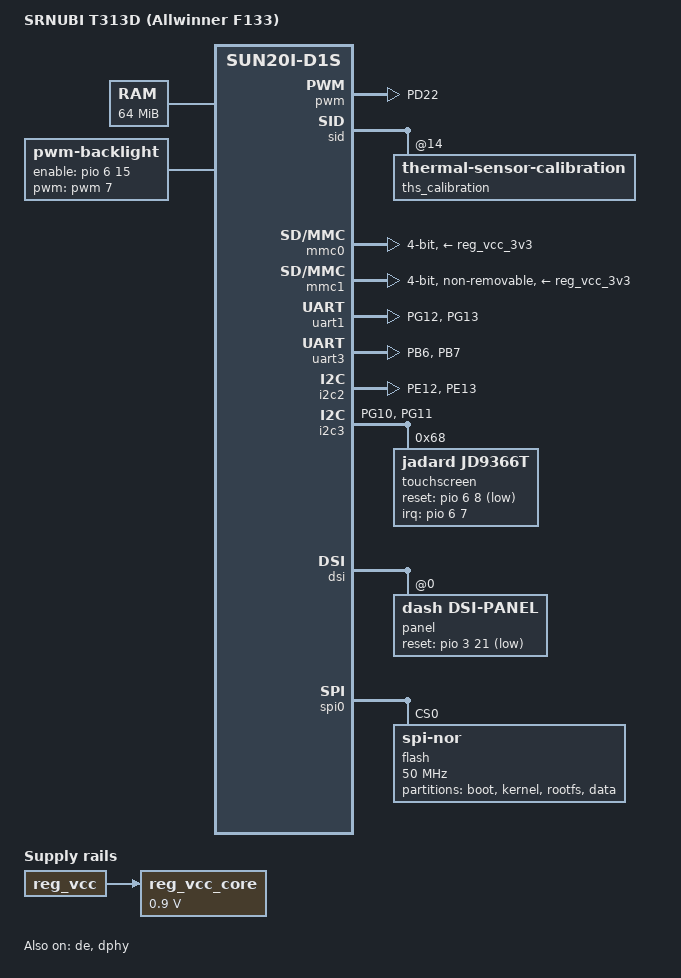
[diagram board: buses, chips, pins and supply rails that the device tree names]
// SPDX-License-Identifier: (GPL-2.0+ or MIT)
// SRNUBI T313D 11.26" car screen: Allwinner F133 (D1s), 64 MiB DDR2, SD card, AIC8800D Wi-Fi on SDIO,
// the screen's MCU on UART1 (it holds the power; see U-Boot's f133_mcu_hold and /etc/init.d/S03mcu).

#include <dt-bindings/gpio/gpio.h>
#include <dt-bindings/interrupt-controller/irq.h>
#include <dt-bindings/pwm/pwm.h>
#include <dt-bindings/power/allwinner,sun20i-d1-ppu.h>
#include <dt-bindings/thermal/thermal.h>

/dts-v1/;

#include "allwinner/sun20i-d1s.dtsi"
#include "allwinner/sun20i-common-regulators.dtsi"

/ {
	model = "SRNUBI T313D (Allwinner F133)";
	compatible = "srnubi,t313d", "allwinner,sun20i-d1s";

	aliases {
		mmc0 = &mmc0;
		mmc1 = &mmc1;
		serial1 = &uart1;
		serial3 = &uart3;
		i2c2 = &i2c2;	/* /dev/i2c-2: the stock firmware's /dev/twi2 */
		i2c3 = &i2c3;	/* /dev/i2c-3: the touch */
	};

	chosen {
		stdout-path = "serial3:115200n8";
	};

	/*
	 * The in-package 64 MiB. U-Boot on RISC-V adds no memory node at booti (it copies only OpenSBI's reserved
	 * regions), and without one the kernel had no memory: "INITRD ... is not a memory region", then a panic.
	 */
	memory@40000000 {
		device_type = "memory";
		reg = <0x40000000 0x4000000>;
	};

	reserved-memory {
		#address-cells = <1>;
		#size-cells = <1>;
		ranges;
		/* Empty: U-Boot adds OpenSBI's own regions here. The bring-up's two were given back to Linux (2.5 MiB of the
		 * 64; a projection's video decoder died for want of memory): ramoops@43800000 (0x80000: the kernel log across a reset,
		 * which U-Boot copied to the card as ramoops.bin) and logs@43a00000 (0x200000, no-map: U-Boot proper's log at
		 * 0x43a00000, OpenSBI's at 0x43b00000, for the SPL to save after a reset). Both were read only from the card;
		 * the screen runs from the NOR. The early boot may still write its logs there: Linux has not started yet, and
		 * the command line names no SBI console (console=tty0, no earlycon), so OpenSBI prints nothing once Linux
		 * runs. Put them back to debug a reset loop with a card. */
	};

	reg_vcc_core: vcc-core {
		compatible = "regulator-fixed";
		regulator-name = "vcc-core";
		regulator-min-microvolt = <900000>;
		regulator-max-microvolt = <900000>;
		vin-supply = <&reg_vcc>;
	};

	/* stock: lcd_bl_en PG15, PWM7 on PD22 at 50 kHz, active low (lcd_pwm_pol 1); as on the T113 Dash */
	backlight: backlight {
		compatible = "pwm-backlight";
		pwms = <&pwm 7 20000 PWM_POLARITY_INVERTED>;
		enable-gpios = <&pio 6 15 GPIO_ACTIVE_HIGH>;
		/* 0..2000: every step of the PWM's 50 kHz period (2000 of its 100 MHz clock), a twentieth of a percent of
		 * duty each: the dash's lowest level is one of them, far below one percent (a night's dark cabin) */
		brightness-levels = <0 2000>;
		num-interpolated-steps = <2000>;
		/* off until the initramfs has the boot picture on the screen and lights it (init/init.c): the first light
		 * shows the picture, not an empty panel. Hence no backlight link from the panel either: the DSI coming up
		 * would light it. */
		default-brightness-level = <0>;
	};

	soc {
		/* D1/T113 PWM (8 channels); the 6.6 dtsi has no node yet (patches/linux/0003, as on the T113 Dash) */
		pwm: pwm@2000c00 {
			compatible = "allwinner,sun20i-d1-pwm";
			reg = <0x02000c00 0x400>;
			clocks = <&ccu CLK_BUS_PWM>, <&dcxo>, <&ccu CLK_APB0>;
			clock-names = "bus", "hosc", "apb";
			resets = <&ccu RST_BUS_PWM>;
			pinctrl-0 = <&pwm7_pd22_pin>;
			pinctrl-names = "default";
			#pwm-cells = <3>;
			allwinner,npwms = <8>;
		};

		/* the video engine: cedrus, Android Auto's H.264 (as the Dash R4; the 6.6 dtsi has none). PLIC 82 =
		 * SOC_PERIPHERAL_IRQ(66), the T113's SPI 66; no SRAM to claim (patches/linux/0005); the VE power domain
		 * needs SUN20I_PPU; buffers from CMA (no IOMMU driver for the D1 in 6.6) */
		ve: video-codec@1c0e000 {
			compatible = "allwinner,sun20i-d1-video-engine";
			reg = <0x01c0e000 0x2000>;
			interrupts = <SOC_PERIPHERAL_IRQ(66) IRQ_TYPE_LEVEL_HIGH>;
			clocks = <&ccu CLK_BUS_VE>, <&ccu CLK_VE>, <&ccu CLK_MBUS_VE>;
			clock-names = "ahb", "mod", "ram";
			resets = <&ccu RST_BUS_VE>;
			power-domains = <&ppu PD_VE>;
		};
	};
};

&cpu0 {
	cpu-supply = <&reg_vcc_core>;
};

/*
 * Heat: the SoC's temperature sensor (the D1's THS: the driver's entry is patches/linux/0009, its node and thermal
 * zone as upstream has them since 6.8), calibrated from the efuse. At 85 C the CPU is held at 408 MHz (its other
 * operating point: cpufreq stays at 1008 MHz otherwise); at 110 C the system shuts down (forced after 10 s) and halts,
 * the backlight off: nothing here can cut the power, and the MCU, no longer held, cycles it; a start still that hot
 * shuts down again.
 */
&sid {
	ths_calibration: thermal-sensor-calibration@14 {
		reg = <0x14 0x4>;
	};
};

/ {
	soc {
		ths: thermal-sensor@2009400 {
			compatible = "allwinner,sun20i-d1-ths";
			reg = <0x2009400 0x400>;
			interrupts = <SOC_PERIPHERAL_IRQ(58) IRQ_TYPE_LEVEL_HIGH>;
			clocks = <&ccu CLK_BUS_THS>;
			clock-names = "bus";
			resets = <&ccu RST_BUS_THS>;
			nvmem-cells = <&ths_calibration>;
			nvmem-cell-names = "calibration";
			#thermal-sensor-cells = <0>;
		};
	};

	thermal-zones {
		cpu-thermal {
			/* looked at too, not left to the sensor's interrupt alone */
			polling-delay = <5000>;
			polling-delay-passive = <1000>;
			thermal-sensors = <&ths>;

			cooling-maps {
				map0 {
					trip = <&cpu_target>;
					cooling-device = <&cpu0 THERMAL_NO_LIMIT THERMAL_NO_LIMIT>;
				};
			};

			trips {
				cpu_target: cpu-target {
					temperature = <85000>;
					hysteresis = <2000>;
					type = "passive";
				};

				cpu-crit {
					temperature = <110000>;
					hysteresis = <0>;
					type = "critical";
				};
			};
		};
	};
};

&dcxo {
	clock-frequency = <24000000>;
};

/* the SD card */
&mmc0 {
	bus-width = <4>;
	broken-cd;
	disable-wp;
	vmmc-supply = <&reg_vcc_3v3>;
	vqmmc-supply = <&reg_vcc_3v3>;
	pinctrl-0 = <&mmc0_pins>;
	pinctrl-names = "default";
	status = "okay";
};

/* the AIC8800D Wi-Fi */
&mmc1 {
	bus-width = <4>;
	non-removable;
	keep-power-in-suspend;
	vmmc-supply = <&reg_vcc_3v3>;
	vqmmc-supply = <&reg_vcc_3v3>;
	pinctrl-0 = <&mmc1_pins>;
	pinctrl-names = "default";
	status = "okay";
};

&pio {
	uart1_pg12_pins: uart1-pg12-pins {
		pins = "PG12", "PG13";
		function = "uart1";
	};

	/* RX pulled up: it is not wired out and must not float (noise is console input) */
	uart3_pb6_pins: uart3-pb6-pins {
		pins = "PB6", "PB7";
		function = "uart3";
		bias-pull-up;
	};

	/* stock [twi2]: PE12 SCL, PE13 SDA, function 2 */
	i2c2_pe12_pins: i2c2-pe12-pins {
		pins = "PE12", "PE13";
		function = "i2c2";
	};

	i2c3_pg10_pins: i2c3-pg10-pins {
		pins = "PG10", "PG11";
		function = "i2c3";
	};

	/* PD22: the panel's brightness input, active low (floating or low = lit). Never a gpio-hog (on the T113 Dash
	 * that broke the pinctrl probe) */
	pwm7_pd22_pin: pwm7-pd22-pin {
		pins = "PD22";
		function = "pwm7";
	};
};

/* the screen's MCU */
&uart1 {
	pinctrl-0 = <&uart1_pg12_pins>;
	pinctrl-names = "default";
	status = "okay";
};

/* the debug UART (stock sys_config: uart_debug_tx = PB06), not wired out */
&uart3 {
	pinctrl-0 = <&uart3_pb6_pins>;
	pinctrl-names = "default";
	status = "okay";
};

/* TWI2 (the stock firmware's /dev/twi2): the audio codec and the board's other I2C devices, enabled so userspace
 * can reach them */
&i2c2 {
	pinctrl-names = "default";
	pinctrl-0 = <&i2c2_pe12_pins>;
	status = "okay";
};

/* the touch, the panel controller's own (stock ctp_lcd_integrated): a Jadard JD9366T (IC id 0x9032), I2C3 on
 * PG10/PG11 at 0x68 (it answers at 0x5a too), interrupt PG7 level low, its reset PG8 (stock ctp_wakeup) */
&i2c3 {
	pinctrl-names = "default";
	pinctrl-0 = <&i2c3_pg10_pins>;
	status = "okay";

	touchscreen@68 {
		compatible = "jadard,jd9366t";
		reg = <0x68>;
		interrupt-parent = <&pio>;
		interrupts = <6 7 IRQ_TYPE_LEVEL_LOW>;
		reset-gpios = <&pio 6 8 GPIO_ACTIVE_LOW>;
	};
};

/* The display: DE2 mixer -> TCON LCD -> MIPI-DSI, 4 lanes on PD0-PD9, as the stock [lcd0] (lcd_if 4) */
&de {
	status = "okay";
};

&dphy {
	status = "okay";
};

&dsi {
	pinctrl-names = "default";
	pinctrl-0 = <&dsi_4lane_pins>;
	status = "okay";

	panel@0 {
		compatible = "dash,dsi-panel";
		reg = <0>;
		reset-gpios = <&pio 3 21 GPIO_ACTIVE_LOW>;	/* stock lcd_reset PD21 */
		/* 11.26" at 720x1920: about 100 x 268 mm in portrait (6.6's of_get_drm_panel_display_mode needs both) */
		width-mm = <100>;
		height-mm = <268>;

		/* the stock [mipi_reg] list (sys_config.fex), as <len cmd args...>; 11/29 are sent by the driver */
		dash,init = [
			02 30 01
			05 78 49 61 02 00
			02 30 02
			02 31 22
			02 32 08
			02 33 31
			02 3d 3c
			02 3e 67
			02 3f 60
			02 42 83
			02 43 f0
			02 44 21
			02 49 a1
			02 40 38
			0d 41 00 00 08 08 00 00 08 08 00 00 08 08
			0c 5a 23 23 23 23 23 22 23 18 00 21 20
			0c 5b 08 0a 0c 0e 04 23 23 23 23 23 23
			0c 5c 23 23 23 23 23 22 23 19 01 21 20
			0c 5d 09 0b 0d 0f 05 23 23 23 23 23 23
			0c 5e 23 23 23 23 23 23 22 05 01 21 20
			0c 5f 0f 0d 0b 09 19 23 23 23 23 23 23
			0c 60 23 23 23 23 23 23 22 04 00 21 20
			0c 61 0e 0c 0a 08 18 23 23 23 23 23 23
			02 68 80
			03 4e aa aa
			03 50 aa aa
			04 64 ff ff 7f
			04 65 ff ff 7f
			04 6f 00 04 00
			04 70 00 04 00
			04 71 ff ff 3f
			04 72 ff ff 3f
			02 30 07
			02 31 c0
			02 30 08
			02 33 05
			02 40 50
			02 41 80
			02 42 1a
			02 47 0a
			02 48 0c
			02 50 14
			02 5a d0
			02 5b 80
			02 5c 72
			02 62 04
			02 65 5f
			02 5e 00
			02 73 01
			02 30 0a
			02 33 30
			02 3f 53
			02 40 15
			02 47 20
			02 48 80
			02 49 03
			02 30 0b
			03 33 00 40
			03 3c 00 57
			02 43 a1
			02 44 21
			06 3e 00 04 0c 12 18
			0f 3f 27 41 4a 53 53 73 7d 86 99 98 9e a6 b8 b6
			0a 40 5e 5f 69 65 00 04 0c 12 18
			0f 41 27 41 4b 52 53 73 7d 86 99 98 9e a6 b8 b6
			05 42 5e 5f 69 65
			02 45 4e
			02 46 4a
			02 48 2e
			02 49 27
			02 4a 2b
			02 30 0c
			02 32 62
			02 62 40
			02 71 47
			02 30 0d
			02 4c 74
			02 30 08
			02 52 c3
			02 54 20
			02 30 00
			02 35 00
		];

		/*
		 * stock [lcd0]: 720x1920, dclk 101 MHz, ht 796 hbp 28 hspw 8, vt 2168 vbp 20 vspw 8 (Allwinner's
		 * back porch counts the sync): 58.5 Hz
		 */
		panel-timing {
			clock-frequency = <101000000>;
			hactive = <720>;
			hfront-porch = <48>;
			hsync-len = <8>;
			hback-porch = <20>;
			vactive = <1920>;
			vfront-porch = <228>;
			vsync-len = <8>;
			vback-porch = <12>;
		};
	};
};

/*
 * The SPI NOR: 16 MiB XMC XM25QH128C (JEDEC 20 40 18, spi-nor-generic from its SFDP) on SPI0, PC2..PC5, at 24 MHz (the
 * clock the stock backup was read at). The screen runs from it without a card: U-Boot's SPL and
 * U-Boot, a kernel FIT, the root squashfs, and /data. CONFIG_MTD_PARTITIONED_MASTER also gives the whole chip as mtd0
 * (backup reads, a restore, U-Boot's writes: its own partition is read only). nor.sh writes them from a card boot.
 * Sized for the first images (U-Boot 0.81 MiB, the kernel FIT 3.9, the root 9.92 in xz): the boundaries are
 * only here, U-Boot's norkernel (0x100000) and nor.sh (/proc/mtd).
 */
&spi0 {
	pinctrl-names = "default";
	pinctrl-0 = <&spi0_pins>;
	status = "okay";

	flash@0 {
		compatible = "jedec,spi-nor";
		reg = <0>;
		/*
		 * 50 MHz: the whole chip read the same as at 24 MHz at 40, 50, 60 and 75 MHz (FAST_READ, four passes
		 * each); 50 keeps a margin for the car's temperatures. 64 KiB reads 2.3 -> 5.7 MB/s.
		 */
		spi-max-frequency = <50000000>;
		/* read on both data lines (the chip's dual output read, no pins more than the four): 5.5 -> 10 MiB/s, the
		 * three partitions read the same as on one line */
		spi-rx-bus-width = <2>;

		partitions {
			compatible = "fixed-partitions";
			#address-cells = <1>;
			#size-cells = <1>;

			/* the eGON SPL the BROM loads, then U-Boot's FIT (OpenSBI, U-Boot proper) */
			partition@0 {
				label = "boot";
				reg = <0x000000 0x100000>;
				read-only;
			};

			/* a FIT: the LZMA kernel and this device tree, sha256 each (bootm checks them) */
			partition@100000 {
				label = "kernel";
				reg = <0x100000 0x440000>;
			};

			/* squashfs (xz, 128 KiB blocks): the root, root=mtd:rootfs */
			partition@540000 {
				label = "rootfs";
				reg = <0x540000 0xa40000>;
			};

			/* JFFS2: /data (settings, Wi-Fi, SSH keys, the AA certificate, Bluetooth bonds); logs stay in RAM */
			partition@f80000 {
				label = "data";
				reg = <0xf80000 0x080000>;
			};
		};
	};
};
